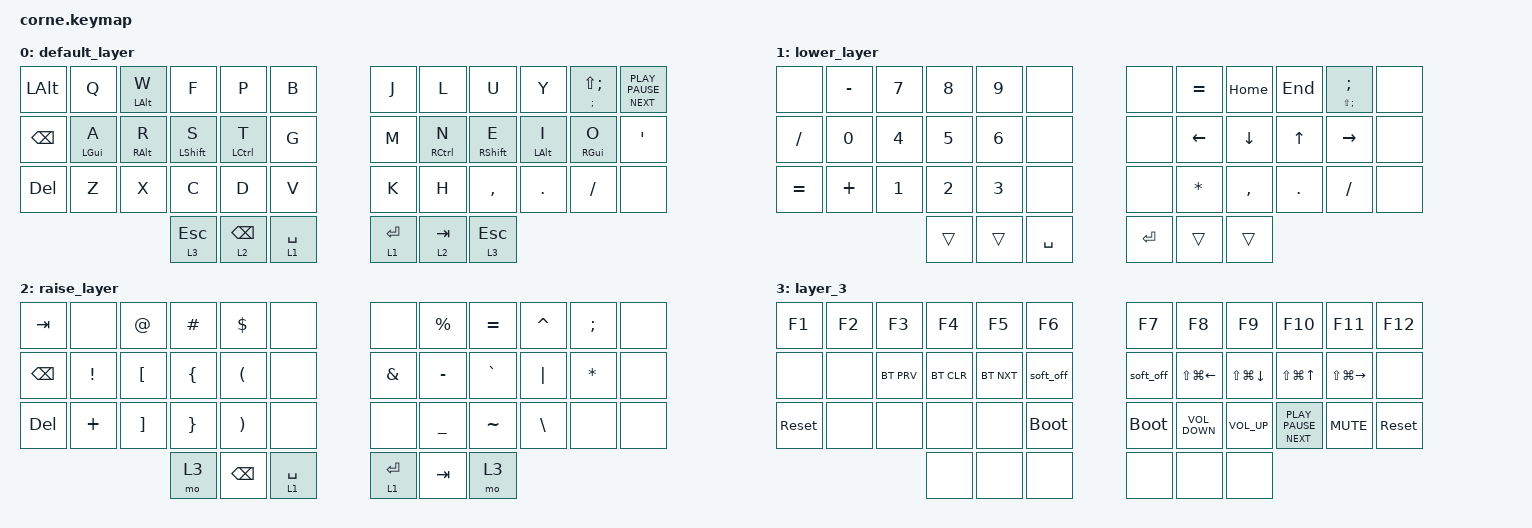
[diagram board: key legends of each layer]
/*
 * Copyright (c) 2020 The ZMK Contributors
 *
 * SPDX-License-Identifier: MIT
 */

#include <behaviors.dtsi>
#include <dt-bindings/zmk/bt.h>
#include <dt-bindings/zmk/keys.h>

/ {
    behaviors {
        HRML: HRML {
            compatible = "zmk,behavior-hold-tap";
            label = "HRML";
            bindings = <&kp>, <&kp>;

            #binding-cells = <2>;
            tapping-term-ms = <200>;
            flavor = "balanced";
            quick-tap-ms = <150>;
            require-prior-idle-ms = <210>;
            hold-trigger-on-release;
        };

        HRMR: HRMR {
            compatible = "zmk,behavior-hold-tap";
            label = "HRMR";
            bindings = <&kp>, <&kp>;

            #binding-cells = <2>;
            tapping-term-ms = <200>;
            flavor = "balanced";
            quick-tap-ms = <150>;
            require-prior-idle-ms = <210>;
            hold-trigger-on-release;
        };

        LTR: LTR {
            compatible = "zmk,behavior-hold-tap";
            label = "LTR";
            bindings = <&mo>, <&kp>;

            #binding-cells = <2>;
            tapping-term-ms = <160>;
            flavor = "balanced";
            quick-tap-ms = <145>;
            require-prior-idle-ms = <100>;
            hold-trigger-on-release;
        };

        LTL: LTL {
            compatible = "zmk,behavior-hold-tap";
            label = "LTL";
            bindings = <&mo>, <&kp>;

            #binding-cells = <2>;
            tapping-term-ms = <160>;
            flavor = "balanced";
            quick-tap-ms = <145>;
            require-prior-idle-ms = <100>;
            hold-trigger-on-release;
        };

        HT_KP: HT_KP {
            compatible = "zmk,behavior-hold-tap";
            label = "HT_KP";
            bindings = <&kp>, <&kp>;

            #binding-cells = <2>;
            flavor = "balanced";
            tapping-term-ms = <150>;
            quick-tap-ms = <120>;
        };
    };

    combos {
        compatible = "zmk,combos";

        Capslock {
            bindings = <&kp CAPSLOCK>;
            key-positions = <5 6>;
        };

        minus {
            bindings = <&kp MINUS>;
            key-positions = <4 7>;
        };

        equal {
            bindings = <&kp EQUAL>;
            key-positions = <17 18>;
        };

        underscore {
            bindings = <&kp LS(MINUS)>;
            key-positions = <3 8>;
        };
    };

    keymap {
        compatible = "zmk,keymap";

        default_layer {
            // -----------------------------------------------------------------------------------------
            // |  TAB |  Q  |  W  |  E  |  R  |  T  |   |  Y  |  U   |  I  |  O  |  P  | ESC   |
            // | BSPC |  A  |  S  |  D  |  F  |  G  |   |  H  |  J   |  K  |  L  |  ;  |  '    |
            // | SHFT |  Z  |  X  |  C  |  V  |  B  |   |  N  |  M   |  ,  |  .  |  /  | LCTRL |
            //                    | GUI | LWR | SPC |   | ENT | RSE  | ALT |

            bindings = <
&kp LEFT_ALT   &kp Q             &HRML LEFT_ALT W   &kp F               &kp P                 &kp B           &kp J          &kp L                  &kp U                &kp Y             &HT_KP SEMI LS(SEMI)  &mt K_NEXT K_PLAY_PAUSE
&kp BACKSPACE  &HRML LEFT_GUI A  &HRML RIGHT_ALT R  &HRML LEFT_SHIFT S  &HRML LEFT_CONTROL T  &kp G           &kp M          &HRMR RIGHT_CONTROL N  &HRMR RIGHT_SHIFT E  &HRMR LEFT_ALT I  &HRMR RIGHT_GUI O     &kp SINGLE_QUOTE
&kp DELETE     &kp Z             &kp X              &kp C               &kp D                 &kp V           &kp K          &kp H                  &kp COMMA            &kp DOT           &kp SLASH             &none
                                                    &LTL 3 ESCAPE       &LTL 2 BACKSPACE      &LTL 1 SPACE    &LTR 1 RETURN  &LTR 2 TAB             &LTR 3 ESCAPE
            >;
        };

        lower_layer {
            // -----------------------------------------------------------------------------------------
            // |  TAB |  1  |  2  |  3  |  4  |  5  |   |  6  |  7  |  8  |  9  |  0  | BSPC |
            // | BTCLR| BT1 | BT2 | BT3 | BT4 | BT5 |   | LFT | DWN |  UP | RGT |     |      |
            // | SHFT |     |     |     |     |     |   |     |     |     |     |     |      |
            //                    | GUI |     | SPC |   | ENT |     | ALT     |

            bindings = <
&none      &kp MINUS  &kp N7  &kp N8  &kp N9  &none        &none    &kp EQUAL  &kp HOME   &kp END  &mt LS(SEMI) SEMI  &none
&kp SLASH  &kp N0     &kp N4  &kp N5  &kp N6  &none        &none    &kp LEFT   &kp DOWN   &kp UP   &kp RIGHT          &none
&kp EQUAL  &kp PLUS   &kp N1  &kp N2  &kp N3  &none        &none    &kp ASTRK  &kp COMMA  &kp DOT  &kp SLASH          &none
                              &trans  &trans  &kp SPACE    &kp RET  &trans     &trans
            >;
        };

        raise_layer {
            // -----------------------------------------------------------------------------------------
            // |  TAB |  !  |  @  |  #  |  $  |  %  |   |  ^  |  &  |  *  |  (  |  )  | BSPC |
            // | CTRL |     |     |     |     |     |   |  -  |  =  |  [  |  ]  |  \  |  `   |
            // | SHFT |     |     |     |     |     |   |  _  |  +  |  {  |  }  | "|" |  ~   |
            //                    | GUI |     | SPC |   | ENT |     | ALT |

            bindings = <
&kp TAB        &none            &kp AT             &kp HASH         &kp DLLR               &none           &none          &kp PERCENT  &kp EQUAL  &kp CARET      &kp SEMI  &none
&kp BACKSPACE  &kp EXCLAMATION  &kp LEFT_BRACKET   &kp LEFT_BRACE   &kp LEFT_PARENTHESIS   &none           &kp AMPS       &kp MINUS    &kp GRAVE  &kp PIPE       &kp STAR  &none
&kp DELETE     &kp PLUS         &kp RIGHT_BRACKET  &kp RIGHT_BRACE  &kp RIGHT_PARENTHESIS  &none           &none          &kp UNDER    &kp TILDE  &kp BACKSLASH  &none     &none
                                                   &mo 3            &kp BACKSPACE          &LTL 1 SPACE    &LTR 1 RETURN  &kp TAB      &mo 3
            >;
        };

        layer_3 {
            bindings = <
&kp F1      &kp F2  &kp F3      &kp F4      &kp F5      &kp F6         &kp F7       &kp F8                  &kp F9                  &kp F10                  &kp F11                  &kp F12
&none       &none   &bt BT_PRV  &bt BT_CLR  &bt BT_NXT  &soft_off      &soft_off    &kp LS(LG(LEFT_ARROW))  &kp LS(LG(DOWN_ARROW))  &kp LS(LG(UP_ARROW))     &kp LS(LG(RIGHT_ARROW))  &none
&sys_reset  &none   &none       &none       &none       &bootloader    &bootloader  &kp K_VOLUME_DOWN       &kp K_VOLUME_UP         &mt K_NEXT K_PLAY_PAUSE  &kp K_MUTE               &sys_reset
                                &none       &none       &none          &none        &none                   &none
            >;
        };
    };
};
